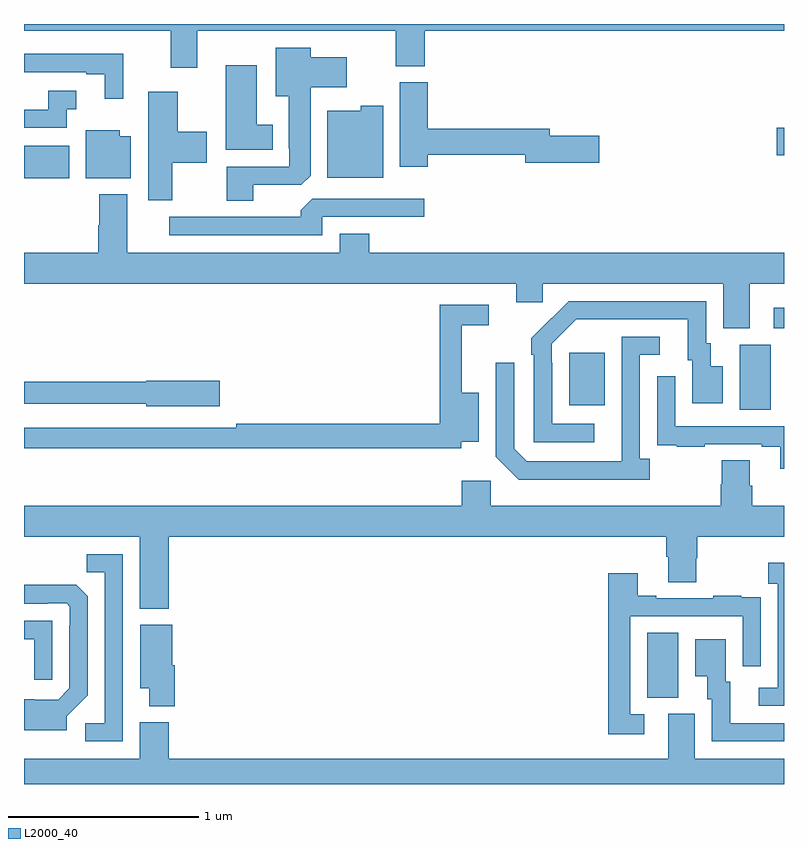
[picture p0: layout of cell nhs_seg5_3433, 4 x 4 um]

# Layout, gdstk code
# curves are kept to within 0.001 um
import gdstk
lib = gdstk.Library(unit=1e-6, precision=1e-09)
def R(c, l, rs):  # rectangles x0, y0, x1, y1
    for r in rs: c.add(gdstk.rectangle(r[:2], r[2:], *l))
def P(c, l, *ps):  # polygons
    for p in ps: c.add(gdstk.Polygon(p, *l))
L2000_40 = (2000, 40)

nhs_seg5_3433 = lib.new_cell('nhs_seg5_3433')
R(nhs_seg5_3433, L2000_40, [(316.28,849.253,316.444,849.596), (316.766,850.768,316.93,851.112), (315.869,850.793,316.057,851.068), (316.947,851.199,317,851.305), (313,851.987,313.237,852.157), (316.962,852.107,317,852.254)])
P(nhs_seg5_3433, L2000_40, [(313.912,852.764),(314.957,852.764),(314.957,852.577),(315.11,852.577),(315.11,852.764),(317,852.764),(317,852.799),(313,852.799),(313,852.764),(313.772,852.764),(313.772,852.57),(313.912,852.57)],
  [(314.206,851.952),(314.46,851.952),(314.509,852.001),(314.509,852.467),(314.698,852.467),(314.698,852.625),(314.509,852.625),(314.509,852.673),(314.324,852.673),(314.324,852.419),(314.393,852.419),(314.393,852.145),(314.397,852.145),(314.397,852.048),(314.066,852.048),(314.066,851.869),(314.206,851.869)],
  [(313.522,852.642),(313,852.642),(313,852.546),(313.328,852.546),(313.328,852.534),(313.424,852.534),(313.424,852.405),(313.522,852.405)],
  [(314.308,852.268),(314.224,852.268),(314.224,852.583),(314.063,852.583),(314.063,852.137),(314.308,852.137)],
  [(315.125,852.112),(315.638,852.112),(315.638,852.07),(316.027,852.07),(316.027,852.212),(315.766,852.212),(315.766,852.248),(315.125,852.248),(315.125,852.492),(314.978,852.492),(314.978,852.048),(315.125,852.048)],
  [(313.224,852.35),(313.276,852.35),(313.276,852.447),(313.127,852.447),(313.127,852.348),(313,852.348),(313,852.252),(313.224,852.252)],
  [(313.78,852.068),(313.963,852.068),(313.963,852.231),(313.81,852.231),(313.81,852.442),(313.655,852.442),(313.655,851.871),(313.78,851.871)],
  [(314.89,852.37),(314.772,852.37),(314.772,852.343),(314.597,852.343),(314.597,851.99),(314.89,851.99)],
  [(313.561,852.208),(313.504,852.208),(313.504,852.241),(313.325,852.241),(313.325,851.987),(313.561,851.987)],
  [(316.819,851.432),(317,851.432),(317,851.596),(314.816,851.596),(314.816,851.695),(314.663,851.695),(314.663,851.596),(313.543,851.596),(313.543,851.902),(313.396,851.902),(313.396,851.741),(313.391,851.741),(313.391,851.596),(313,851.596),(313,851.432),(315.59,851.432),(315.59,851.334),(315.729,851.334),(315.729,851.432),(316.679,851.432),(316.679,851.197),(316.819,851.197)],
  [(314.571,851.784),(315.106,851.784),(315.106,851.88),(314.517,851.88),(314.456,851.818),(314.456,851.784),(313.764,851.784),(313.764,851.688),(314.571,851.688)],
  [(316,850.695),(315.78,850.695),(315.78,851.015),(315.777,851.015),(315.777,851.115),(315.906,851.244),(316.493,851.244),(316.493,851.028),(316.517,851.028),(316.517,850.803),(316.678,850.803),(316.678,850.999),(316.615,850.999),(316.615,851.118),(316.59,851.118),(316.59,851.34),(315.866,851.34),(315.669,851.145),(315.669,851.057),(315.684,851.057),(315.684,850.599),(316,850.599)],
  [(315.3,850.601),(315.394,850.601),(315.394,850.858),(315.305,850.858),(315.305,851.214),(315.445,851.214),(315.445,851.322),(315.187,851.322),(315.187,850.694),(314.116,850.694),(314.116,850.674),(313,850.674),(313,850.566),(315.3,850.566)],
  [(316.294,850.51),(316.242,850.51),(316.242,851.058),(316.345,851.058),(316.345,851.154),(316.146,851.154),(316.145,850.497),(315.645,850.497),(315.579,850.563),(315.579,851.017),(315.483,851.017),(315.483,850.521),(315.604,850.4),(316.294,850.4)],
  [(317,850.683),(316.428,850.683),(316.428,850.945),(316.332,850.945),(316.332,850.69),(316.333,850.69),(316.333,850.581),(316.435,850.581),(316.435,850.575),(316.583,850.575),(316.583,850.587),(316.883,850.587),(316.883,850.575),(316.979,850.575),(316.979,850.458),(317,850.458)],
  [(314.029,850.922),(313.644,850.922),(313.644,850.916),(313,850.916),(313,850.8),(313.644,850.8),(313.644,850.787),(314.029,850.787)],
  [(313.763,850.1),(316.379,850.1),(316.379,849.994),(316.391,849.994),(316.391,849.862),(316.539,849.862),(316.539,849.987),(316.544,849.987),(316.544,850.1),(317,850.1),(317,850.264),(316.832,850.264),(316.832,850.37),(316.819,850.37),(316.819,850.502),(316.672,850.502),(316.672,850.377),(316.667,850.377),(316.667,850.264),(315.456,850.264),(315.456,850.396),(315.305,850.396),(315.305,850.264),(313,850.264),(313,850.1),(313.61,850.1),(313.61,849.722),(313.763,849.722)],
  [(313.521,850.008),(313.33,850.008),(313.33,849.913),(313.425,849.913),(313.425,849.12),(313.323,849.12),(313.323,849.024),(313.521,849.024)],
  [(317,849.964),(316.917,849.964),(316.917,849.854),(316.968,849.854),(316.968,849.306),(316.866,849.306),(316.866,849.21),(317,849.21)],
  [(316.264,849.165),(316.191,849.165),(316.191,849.681),(316.782,849.681),(316.782,849.42),(316.878,849.42),(316.878,849.674),(316.877,849.674),(316.877,849.783),(316.775,849.783),(316.775,849.79),(316.627,849.79),(316.627,849.777),(316.327,849.777),(316.327,849.79),(316.231,849.79),(316.231,849.907),(316.075,849.907),(316.075,849.06),(316.264,849.06)],
  [(313.225,849.156),(313.335,849.266),(313.335,849.788),(313.276,849.847),(313,849.848),(313,849.747),(313.124,849.747),(313.124,849.75),(313.224,849.75),(313.242,849.732),(313.242,849.632),(313.239,849.632),(313.239,849.303),(313.179,849.243),(313,849.244),(313,849.083),(313.225,849.083)],
  [(313.149,849.657),(313,849.657),(313,849.561),(313.053,849.561),(313.053,849.348),(313.149,849.348)],
  [(313.793,849.423),(313.78,849.423),(313.78,849.637),(313.613,849.637),(313.613,849.302),(313.658,849.302),(313.658,849.209),(313.793,849.209)],
  [(317,849.12),(316.717,849.12),(316.717,849.336),(316.693,849.336),(316.693,849.562),(316.532,849.562),(316.532,849.365),(316.595,849.365),(316.595,849.246),(316.62,849.246),(316.62,849.024),(317,849.024)],
  [(317,848.932),(316.531,848.932),(316.531,849.168),(316.391,849.168),(316.391,848.932),(313.763,848.932),(313.763,849.124),(313.61,849.124),(313.61,848.932),(313,848.932),(313,848.799),(317,848.799)])

lib.write_gds('nhs_seg5_3433.gds')
